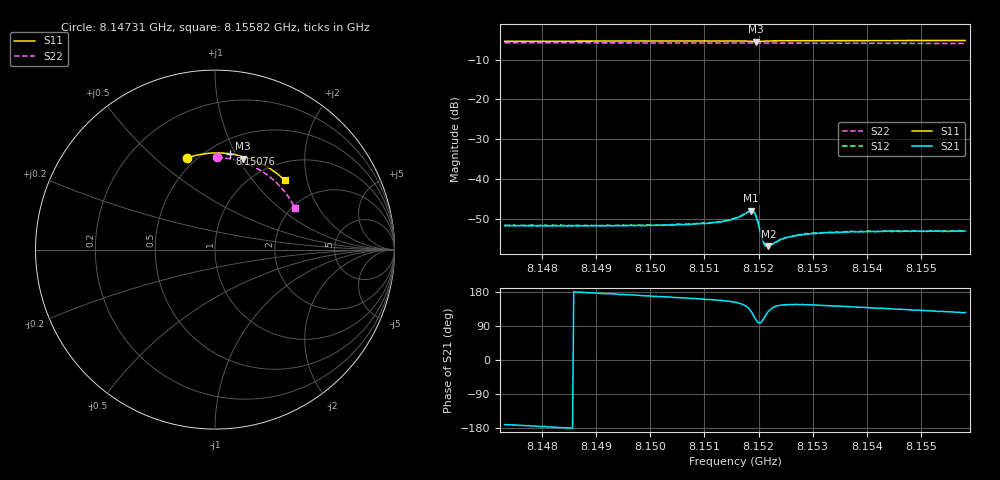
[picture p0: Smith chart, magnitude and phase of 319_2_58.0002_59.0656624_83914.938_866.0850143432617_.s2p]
#  HZ  S  RI  R  50.00
! Rohde & Schwarz Vector Network Analyzer
! Rohde-Schwarz,ZNB20-2Port,1311601062101988,3.16
! Created: UTC 3/21/2024, 1:04:37 AM
! freq[Hz]  re:S11  im:S11  re:S21  im:S21  re:S12  im:S12  re:S22  im:S22
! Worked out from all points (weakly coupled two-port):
!   401 points, 8.14731 GHz to 8.15582 GHz, reference 50 ohm
!   highest |S21| = -47.85 dB at 8.15186 GHz (marker M1); lowest = -56.7 dB at 8.15218 GHz (marker M2)
!   lowest |S11| = -5.5 dB at 8.15195 GHz (marker M3), VSWR 3.26, Z = 37.2 + j52.4 ohm
!   |S11| at or under -10 dB: nowhere
!   |S22| runs from -6.0 to -5.8 dB; largest |S21 - S12| = 0.00011
!   S11 on the Smith chart (normalised r, x): 8.14731 GHz: 0.45, +0.64; 8.15076 GHz: 0.63, +0.95; 8.15582 GHz: 1.34, +1.48
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8.147313e9  -0.1561 0.5113  -0.0026 -0.000443  -0.00263 -0.000401  0.0129 0.5137
8.148737e9  -0.0593 0.5338  -0.00264 6.1e-05  -0.00264 0.000126  0.105 0.5014
8.150162e9  0.0398 0.5381  -0.00259 0.00059  -0.00263 0.000639  0.1927 0.4727
8.150757e9  0.0812 0.5343  -0.00261 0.000834  -0.00262 0.00088  0.2273 0.4562
8.151289e9  0.1184 0.5278  -0.00273 0.00112  -0.00271 0.00119  0.2569 0.4391
8.151566e9  0.1383 0.5228  -0.00288 0.0015  -0.0029 0.00153  0.272 0.4296
8.151651e9  0.1446 0.5206  -0.00295 0.00175  -0.0029 0.00177  0.2764 0.4264
8.151821e9  0.1565 0.513  -0.00283 0.00275  -0.0028 0.00283  0.2853 0.4203
8.151863e9  0.1583 0.51  -0.0025 0.00318  -0.00249 0.00324  0.2874 0.4185
8.151906e9  0.1585 0.5071  -0.00187 0.00346  -0.00183 0.00354  0.2894 0.4169
8.151948e9  0.1575 0.506  -0.00105 0.00339  -0.00101 0.00341  0.2914 0.4153
8.151991e9  0.1569 0.5074  -0.000449 0.00282  -0.00043 0.00289  0.2935 0.4138
8.152076e9  0.1613 0.5112  -0.000447 0.00169  -0.000388 0.00168  0.2979 0.4108
8.152097e9  0.1631 0.5118  -0.00052 0.0015  -0.000515 0.00153  0.299 0.4099
8.15214e9  0.1666 0.5122  -0.000747 0.00127  -0.000717 0.00128  0.3012 0.4084
8.152182e9  0.1701 0.5121  -0.000913 0.00114  -0.000877 0.00119  0.3034 0.4066
8.15248e9  0.1925 0.5072  -0.0015 0.00107  -0.00152 0.00106  0.3183 0.3947
8.152841e9  0.2169 0.4982  -0.0017 0.00115  -0.00175 0.0012  0.3355 0.3795
8.15299e9  0.2265 0.4942  -0.00175 0.00119  -0.00173 0.00124  0.3425 0.373
8.153756e9  0.2746 0.4707  -0.00169 0.00142  -0.00168 0.00146  0.3755 0.3379
8.154415e9  0.3134 0.447  -0.00161 0.00159  -0.00156 0.00161  0.4012 0.305
8.155818e9  0.3885 0.3861  -0.00131 0.00186  -0.0013 0.00184  0.4459 0.2297
